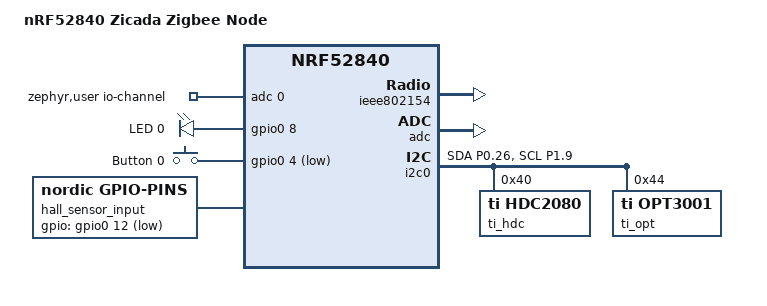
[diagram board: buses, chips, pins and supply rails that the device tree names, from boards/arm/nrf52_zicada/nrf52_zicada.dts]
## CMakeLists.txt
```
#
# Copyright (c) 2020 Nordic Semiconductor ASA
#
# SPDX-License-Identifier: LicenseRef-Nordic-5-Clause
#

cmake_minimum_required(VERSION 3.20.0)

find_package(Zephyr REQUIRED HINTS $ENV{ZEPHYR_BASE})

project(Zicada-Dev)

# NORDIC SDK APP START
target_sources(app PRIVATE
  src/main.c
)

target_include_directories(app PRIVATE include)
# NORDIC SDK APP END

target_sources_ifdef(CONFIG_BT_NUS app PRIVATE
  src/nus_cmd.c
)
```

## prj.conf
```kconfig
#
# Copyright (c) 2020 Nordic Semiconductor ASA
#
# SPDX-License-Identifier: LicenseRef-Nordic-5-Clause
#

CONFIG_NCS_SAMPLES_DEFAULTS=y


CONFIG_SERIAL=n
CONFIG_GPIO=y

# Make sure printk is not printing to the UART console
CONFIG_LOG=y
CONFIG_CONSOLE=y
CONFIG_UART_CONSOLE=n
CONFIG_RTT_CONSOLE=y
CONFIG_USE_SEGGER_RTT=y
CONFIG_LOG_DEFAULT_LEVEL=3

# For Zephyr's log system:
CONFIG_LOG_BACKEND_UART=n
CONFIG_LOG_BACKEND_RTT=y

CONFIG_HEAP_MEM_POOL_SIZE=2048
CONFIG_MAIN_STACK_SIZE=4096
CONFIG_LOG_MODE_DEFERRED=y
CONFIG_LOG_PROCESS_THREAD=y
CONFIG_LOG_PROCESS_THREAD_STACK_SIZE=2048
CONFIG_KERNEL_LOG_LEVEL_INF=y
CONFIG_MPU_LOG_LEVEL_INF=y

CONFIG_ZIGBEE=y
CONFIG_ZIGBEE_APP_UTILS=y
#CONFIG_ZIGBEE_ROLE_ROUTER=y
CONFIG_ZIGBEE_ROLE_END_DEVICE=y
CONFIG_ZIGBEE_CHANNEL_SELECTION_MODE_MULTI=y
CONFIG_ZIGBEE_APP_UTILS_LOG_LEVEL_DBG=y
CONFIG_ZIGBEE_FACTORY_RESET=y
CONFIG_ZIGBEE_PANID_CONFLICT_RESOLUTION=y
CONFIG_ZIGBEE_ENABLE_TRACES=y
#CONFIG_ZBOSS_TRACE_BINARY_LOGGING=y
CONFIG_ZBOSS_TRACE_LOG_LEVEL_DBG=y
CONFIG_ZBOSS_DEFAULT_THREAD_PRIORITY=0
CONFIG_MAIN_THREAD_PRIORITY=1
CONFIG_LOG_PROCESS_THREAD_CUSTOM_PRIORITY=y
CONFIG_LOG_PROCESS_THREAD_PRIORITY=2

# Enable DK LED and Buttons library
CONFIG_DK_LIBRARY=y

# This example requires more workqueue stack
CONFIG_SYSTEM_WORKQUEUE_STACK_SIZE=2048

# Enable API for powering down unused RAM parts
CONFIG_RAM_POWER_DOWN_LIBRARY=y

# Networking
CONFIG_NET_IPV6=n
CONFIG_NET_IP_ADDR_CHECK=n
CONFIG_NET_UDP=n

CONFIG_ZIGBEE_CHANNEL_SELECTION_MODE_MULTI=y

CONFIG_NRFX_SAADC=y

# Troubleshooting
CONFIG_ZBOSS_HALT_ON_ASSERT=n
CONFIG_RESET_ON_FATAL_ERROR=n

# use internal RC oscillator instead of 32kHz crystal
# Comment this out when using an external 32kHz crystal!
#CONFIG_CLOCK_CONTROL_NRF_K32SRC_RC=y
#CONFIG_CLOCK_CONTROL_NRF_K32SRC_500PPM=y
#CONFIG_CLOCK_CONTROL_NRF_K32SRC_RC_CALIBRATION=y
#CONFIG_CLOCK_CONTROL_NRF_CALIBRATION_LF_ALWAYS_ON=y

CONFIG_I2C=y
CONFIG_SENSOR=y
CONFIG_NEWLIB_LIBC=y
```

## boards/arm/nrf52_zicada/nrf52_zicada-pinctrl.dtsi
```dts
/*
 * Copyright (c) 2022 Nordic Semiconductor
 * SPDX-License-Identifier: Apache-2.0
 */

&pinctrl {
	uart0_default: uart0_default {
		group1 {
			psels = <NRF_PSEL(UART_TX, 1, 3)>,
					<NRF_PSEL(UART_RTS, 1, 2)>;
		};
		group2 {
			psels = <NRF_PSEL(UART_RX, 1, 10)>,
					<NRF_PSEL(UART_CTS, 1, 9)>;
			bias-pull-up;
		};
	};

	uart0_sleep: uart0_sleep {
		group1 {
			psels = <NRF_PSEL(UART_TX, 1, 3)>,
					<NRF_PSEL(UART_RX, 1, 10)>,
					<NRF_PSEL(UART_RTS, 1, 2)>,
					<NRF_PSEL(UART_CTS, 1, 9)>;
			low-power-enable;
		};
	};
};
```

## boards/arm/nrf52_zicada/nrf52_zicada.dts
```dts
// Copyright (c) 2024 Nordic Semiconductor ASA
// SPDX-License-Identifier: Apache-2.0

/dts-v1/;
#include <nordic/nrf52840_qiaa.dtsi>
#include "nrf52_zicada-pinctrl.dtsi"
#include <zephyr/dt-bindings/input/input-event-codes.h>

/ {
	model = "nRF52840 Zicada Zigbee Node";
	compatible = "nrf52_zicada";

	chosen {
		zephyr,sram = &sram0;
		zephyr,flash = &flash0;
		zephyr,ieee802154 = &ieee802154;
	};

	zephyr,user {
		io-channels = <&adc 0>;
	};

	leds {
		compatible = "gpio-leds";
		led0: led_0 {
			gpios = <&gpio0 8 0>;
			label = "LED 0";
		};
		compatible = "gpio-leds";
	};

	buttons {
		compatible = "gpio-keys";
		button0: button_0 {
			gpios = <&gpio0 4 (GPIO_ACTIVE_LOW | GPIO_PULL_UP)>;
			label = "Button 0";
			zephyr,code = <INPUT_KEY_0>;
		};
	};

	hall_sensor_input: hall-sensor-input {
		compatible = "nordic,gpio-pins";
		gpios = <&gpio0 12 (GPIO_ACTIVE_LOW)>;
		status = "okay";
	};

	aliases {
		led0 = &led0;
		button0 = &button0;
		watchdog0 = &wdt0;
	};
};

&uicr {
	gpio-as-nreset;
};

&gpiote {
	status = "okay";
};

&gpio0 {
	status = "okay";
};

&gpio1 {
	status = "okay";
};

&ieee802154 {
        status = "okay";
};

&adc {
	status = "okay";
};

&nfct {
	status = "disabled";
};

&i2c0 {
	ti_hdc: hdc2080@40 {
		compatible = "ti,hdc2080";
		status = "ok";
		reg = <0x40>;
		//int-gpios = <&gpio0 8 (GPIO_ACTIVE_LOW | GPIO_PULL_UP)>;
	};

	ti_opt: opt3001@44 {
		compatible = "ti,opt3001";
		status = "ok";
		reg = <0x44>;
	};	

	status = "okay";
	pinctrl-0 = <&i2c0_default>;
	pinctrl-names = "default";
};

&pinctrl {
	i2c0_default: i2c0_default {
		group1 {
			psels = <NRF_PSEL(TWIM_SDA, 0, 26)>, <NRF_PSEL(TWIM_SCL, 1, 9)>;
		};
	};
};
```

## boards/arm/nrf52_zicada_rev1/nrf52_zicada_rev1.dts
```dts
// Copyright (c) 2024 Nordic Semiconductor ASA
// SPDX-License-Identifier: Apache-2.0

/dts-v1/;
#include <nordic/nrf52840_qiaa.dtsi>
#include "nrf52_zicada_rev1-pinctrl.dtsi"
#include <zephyr/dt-bindings/input/input-event-codes.h>

/ {
	model = "nRF52840 Zicada Zigbee Node";
	compatible = "nrf52_zicada_rev1";

	chosen {
		zephyr,sram = &sram0;
		zephyr,flash = &flash0;
		zephyr,ieee802154 = &ieee802154;
	};

	zephyr,user {
		io-channels = <&adc 0>;
	};

	leds {
		compatible = "gpio-leds";
		led0: led_0 {
			gpios = <&gpio1 4 GPIO_ACTIVE_HIGH>;
			label = "LED 0";
		};
		compatible = "gpio-leds";
	};

	buttons {
		compatible = "gpio-keys";
		button0: button_0 {
			gpios = <&gpio0 4 (GPIO_ACTIVE_LOW | GPIO_PULL_UP)>;
			label = "Button 0";
			zephyr,code = <INPUT_KEY_0>;
		};
	};

	hall_sensor_input: hall-sensor-input {
		compatible = "nordic,gpio-pins";
		gpios = <&gpio0 12 (GPIO_ACTIVE_LOW)>;
		status = "okay";
	};

	aliases {
		led0 = &led0;
		button0 = &button0;
		watchdog0 = &wdt0;
	};
};

&uicr {
	gpio-as-nreset;
};

&gpiote {
	status = "okay";
};

&gpio0 {
	status = "okay";
};

&gpio1 {
	status = "okay";
};

&ieee802154 {
        status = "okay";
};

&adc {
	status = "okay";
};

&nfct {
	status = "disabled";
};

&i2c0 {
	ti_hdc: hdc2080@40 {
		compatible = "ti,hdc2080";
		status = "ok";
		reg = <0x40>;
		//int-gpios = <&gpio0 8 (GPIO_ACTIVE_LOW | GPIO_PULL_UP)>;
	};

	status = "okay";
	pinctrl-0 = <&i2c0_default>;
	pinctrl-names = "default";
};

&pinctrl {
	i2c0_default: i2c0_default {
		group1 {
			psels = <NRF_PSEL(TWIM_SDA, 0, 26)>, <NRF_PSEL(TWIM_SCL, 1, 9)>;
		};
	};
};
```

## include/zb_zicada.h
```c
#ifndef __ZB_ZICADA_H__
#define __ZB_ZICADA_H__

// Temperature sensor device ID
#define ZB_TEMPERATURE_SENSOR_DEVICE_ID 0x0302  

// Device version
#define ZB_DEVICE_VER_TEMPERATURE_SENSOR 0

// Zicada sensor numer of IN (server) clusters
#define ZB_ZICADA_IN_CLUSTER_NUM 6

// Zicada sensor number of OUT (client) clusters
#define ZB_ZICADA_OUT_CLUSTER_NUM 2

// Zicada sensor total number of (IN+OUT) clusters
#define ZB_ZICADA_CLUSTER_NUM (ZB_ZICADA_IN_CLUSTER_NUM + ZB_ZICADA_OUT_CLUSTER_NUM)

// Number of attributes for reporting on Zicada sensor
// battery percentage remaining, battery alarm + battery voltage
#define ZB_ZICADA_REPORT_ATTR_COUNT 4

// Declare cluster list for Zicada sensor
//
// cluster_list_name - cluster list variable name
// basic_server_attr_list - attribute list for Basic cluster (server role)
// identify_server_attr_list - attribute list for Identify cluster (server role)
// identify_client_attr_list - attribute list for Identify cluster (client role)
// temperature_measurement_attr_list - attribute list for temperature cluster (server role)
// humidity_measurement_attr_list - attribute list for humidity cluster (server role)
// on_off_client_attr_list - attribute list for On/Off cluster (client role)
// power_config_server_attr_list - attribute list for Power COnfig cluster (server role)

#define ZB_DECLARE_ZICADA_CLUSTER_LIST(			  									\
		cluster_list_name,						      								\
		basic_server_attr_list,														\
		identify_client_attr_list,													\
		identify_server_attr_list,													\
		temperature_measurement_attr_list,											\
		humidity_measurement_attr_list,												\
		illuminance_measurement_attr_list,											\
		on_off_client_attr_list,													\
		power_config_server_attr_list)												\
zb_zcl_cluster_desc_t cluster_list_name[] =											\
{										  											\
	ZB_ZCL_CLUSTER_DESC(															\
		ZB_ZCL_CLUSTER_ID_BASIC,													\
		ZB_ZCL_ARRAY_SIZE(basic_server_attr_list, zb_zcl_attr_t),					\
		(basic_server_attr_list),													\
		ZB_ZCL_CLUSTER_SERVER_ROLE,													\
		ZB_ZCL_MANUF_CODE_INVALID													\
	),																				\
	ZB_ZCL_CLUSTER_DESC(															\
		ZB_ZCL_CLUSTER_ID_IDENTIFY,													\
		ZB_ZCL_ARRAY_SIZE(identify_client_attr_list, zb_zcl_attr_t),				\
		(identify_client_attr_list),												\
		ZB_ZCL_CLUSTER_CLIENT_ROLE,													\
		ZB_ZCL_MANUF_CODE_INVALID													\
	),																				\
	ZB_ZCL_CLUSTER_DESC(															\
		ZB_ZCL_CLUSTER_ID_IDENTIFY,													\
		ZB_ZCL_ARRAY_SIZE(identify_server_attr_list, zb_zcl_attr_t),				\
		(identify_server_attr_list),												\
		ZB_ZCL_CLUSTER_SERVER_ROLE,													\
		ZB_ZCL_MANUF_CODE_INVALID													\
	),																				\
	ZB_ZCL_CLUSTER_DESC(															\
		ZB_ZCL_CLUSTER_ID_TEMP_MEASUREMENT,											\
		ZB_ZCL_ARRAY_SIZE(temperature_measurement_attr_list, zb_zcl_attr_t),		\
		(temperature_measurement_attr_list),										\
		ZB_ZCL_CLUSTER_SERVER_ROLE,													\
		ZB_ZCL_MANUF_CODE_INVALID													\
	),																				\
	ZB_ZCL_CLUSTER_DESC(															\
		ZB_ZCL_CLUSTER_ID_REL_HUMIDITY_MEASUREMENT,									\
		ZB_ZCL_ARRAY_SIZE(humidity_measurement_attr_list, zb_zcl_attr_t),			\
		(humidity_measurement_attr_list),											\
		ZB_ZCL_CLUSTER_SERVER_ROLE,													\
		ZB_ZCL_MANUF_CODE_INVALID													\
	),																				\
	ZB_ZCL_CLUSTER_DESC(															\
		ZB_ZCL_CLUSTER_ID_ILLUMINANCE_MEASUREMENT,									\
		ZB_ZCL_ARRAY_SIZE(illuminance_measurement_attr_list, zb_zcl_attr_t),		\
		(illuminance_measurement_attr_list),										\
		ZB_ZCL_CLUSTER_SERVER_ROLE,													\
		ZB_ZCL_MANUF_CODE_INVALID													\
	),																				\
	ZB_ZCL_CLUSTER_DESC(															\
		ZB_ZCL_CLUSTER_ID_ON_OFF,													\
		ZB_ZCL_ARRAY_SIZE(on_off_client_attr_list, zb_zcl_attr_t),					\
		(on_off_client_attr_list),													\
		ZB_ZCL_CLUSTER_CLIENT_ROLE,													\
		ZB_ZCL_MANUF_CODE_INVALID													\
	),																				\
	ZB_ZCL_CLUSTER_DESC(															\
		ZB_ZCL_CLUSTER_ID_POWER_CONFIG,												\
		ZB_ZCL_ARRAY_SIZE(power_config_server_attr_list, zb_zcl_attr_t),			\
		(power_config_server_attr_list),											\
		ZB_ZCL_CLUSTER_SERVER_ROLE,													\
		ZB_ZCL_MANUF_CODE_INVALID													\
	)																				\
}

// Declare simple descriptor for Zicada sensor
//
// ep_name - endpoint variable name
// ep_id - endpoint ID
// in_clust_num - number of supported input clusters
// out_clust_num - number of supported output clusters

#define ZB_ZCL_DECLARE_ZICADA_SIMPLE_DESC(											\
	ep_name, ep_id, in_clust_num, out_clust_num)									\
	ZB_DECLARE_SIMPLE_DESC(in_clust_num, out_clust_num);							\
	ZB_AF_SIMPLE_DESC_TYPE(in_clust_num, out_clust_num) simple_desc_##ep_name =		\
	{																				\
		ep_id,																		\
		ZB_AF_HA_PROFILE_ID,														\
		ZB_TEMPERATURE_SENSOR_DEVICE_ID,											\
		ZB_DEVICE_VER_TEMPERATURE_SENSOR,											\
		0,																			\
		in_clust_num,																\
		out_clust_num,																\
		{																			\
			ZB_ZCL_CLUSTER_ID_BASIC,												\
			ZB_ZCL_CLUSTER_ID_IDENTIFY,												\
			ZB_ZCL_CLUSTER_ID_TEMP_MEASUREMENT,										\
			ZB_ZCL_CLUSTER_ID_REL_HUMIDITY_MEASUREMENT,								\
			ZB_ZCL_CLUSTER_ID_ILLUMINANCE_MEASUREMENT,								\
			ZB_ZCL_CLUSTER_ID_POWER_CONFIG,											\
			ZB_ZCL_CLUSTER_ID_IDENTIFY,												\
			ZB_ZCL_CLUSTER_ID_ON_OFF												\
		}																			\
	}

// Declare endpoint for Zicada sensor
//
// ep_name - endpoint variable name
// ep_id - endpoint ID
// cluster_list - endpoint cluster list

#define ZB_DECLARE_ZICADA_EP(ep_name, ep_id, cluster_list)						\
	ZB_ZCL_DECLARE_ZICADA_SIMPLE_DESC(ep_name, ep_id,							\
		  ZB_ZICADA_IN_CLUSTER_NUM, ZB_ZICADA_OUT_CLUSTER_NUM);					\
	ZBOSS_DEVICE_DECLARE_REPORTING_CTX(reporting_info## ep_name,				\
		ZB_ZICADA_REPORT_ATTR_COUNT);											\
	ZB_AF_DECLARE_ENDPOINT_DESC(ep_name, ep_id, ZB_AF_HA_PROFILE_ID, 0, NULL,	\
		ZB_ZCL_ARRAY_SIZE(cluster_list, zb_zcl_cluster_desc_t), cluster_list,	\
		(zb_af_simple_desc_1_1_t *)&simple_desc_##ep_name,						\
		ZB_ZICADA_REPORT_ATTR_COUNT, reporting_info## ep_name,					\
		0, NULL) // No CVC ctx

#endif // __ZB_ZICADA_H__
```
